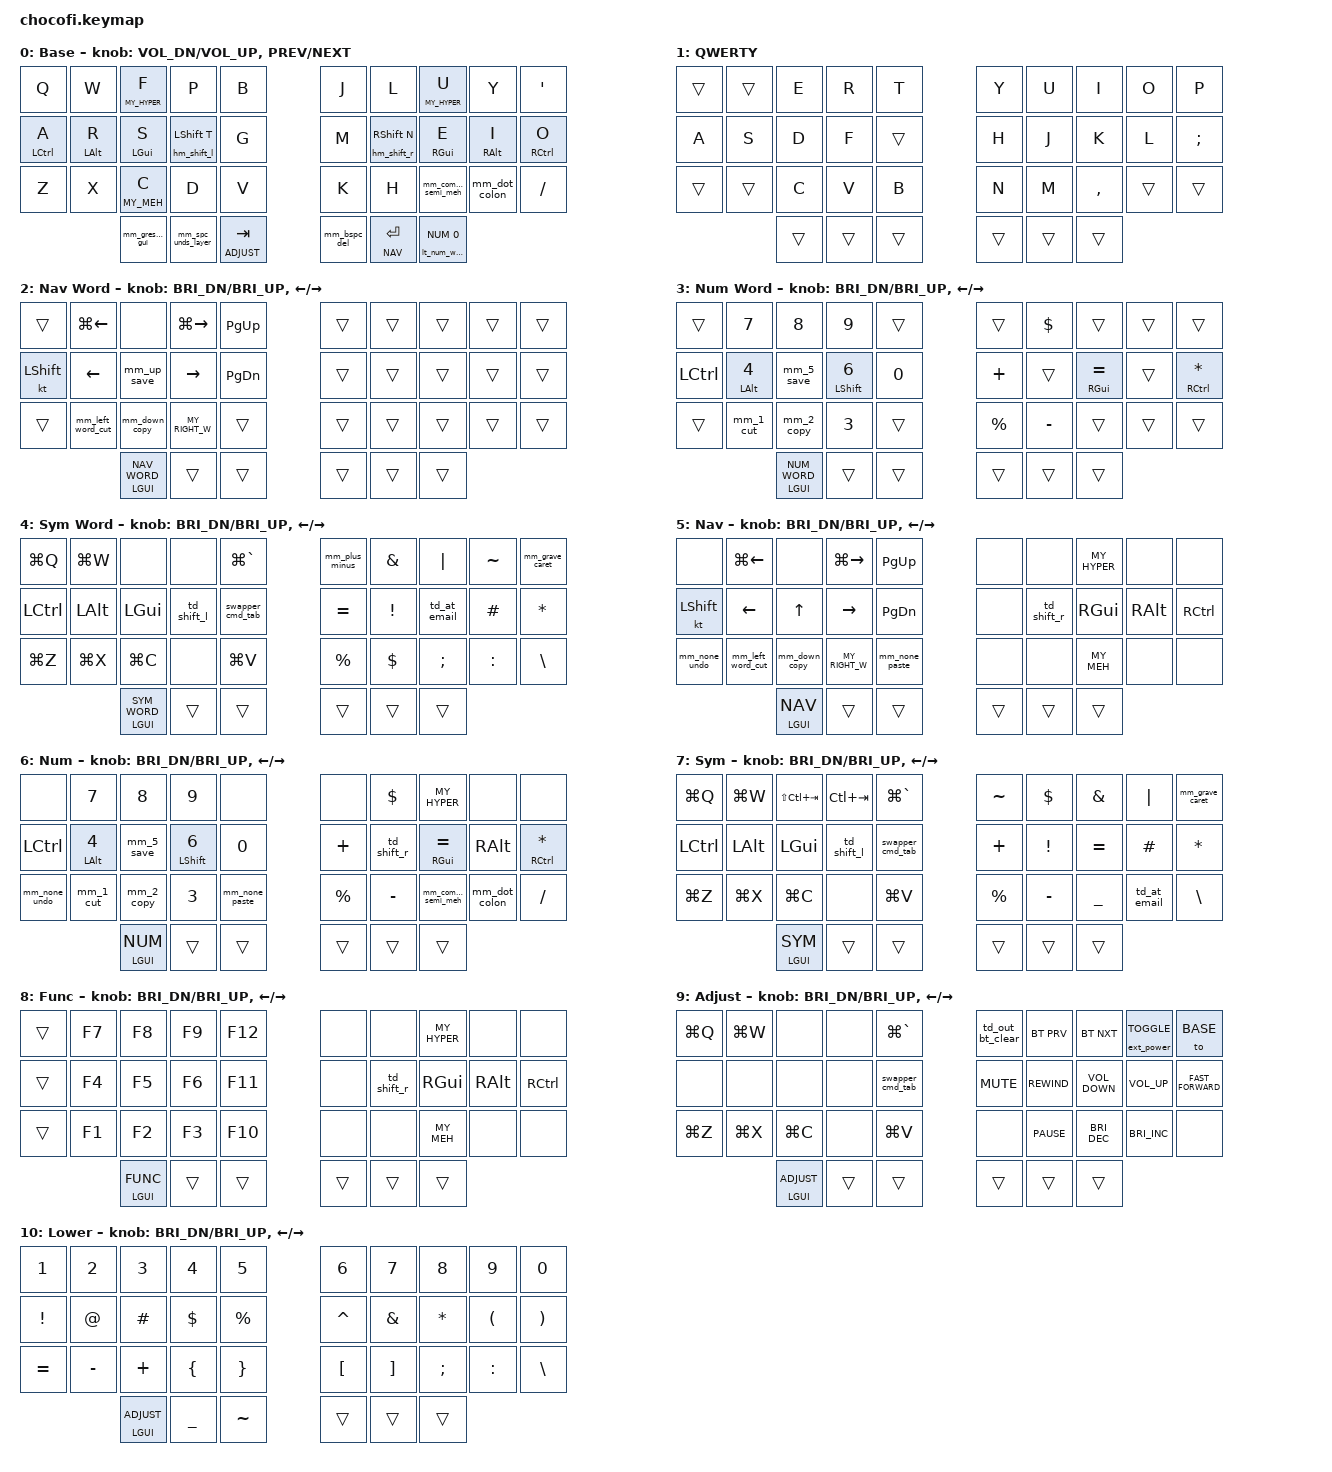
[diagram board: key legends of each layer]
/*
 * Copyright (c) 2020 The ZMK Contributors
 *
 * SPDX-License-Identifier: MIT
 */

// Define layer numbers
#define BASE 0
#define BASE_QWERTY 1
#define NAV_WORD 2
#define NUM_WORD 3
#define SYM_WORD 4
#define NAV 5
#define NUM 6
#define SYM 7
#define FUNC 8
#define ADJUST 9
#define LOWER 10

// ZMK includes
#include <behaviors.dtsi>
#include <dt-bindings/zmk/keys.h>
#include <dt-bindings/zmk/bt.h>
#include <dt-bindings/zmk/rgb.h>
#include <dt-bindings/zmk/ext_power.h>

// Personal includes
#include "includes/custom_keycodes.dtsi"
#include "includes/settings.dtsi"
//#include "includes/settings_pd.dtsi"
#include "includes/conditional_layers.dtsi"
#include "includes/macros.dtsi"
#include "includes/combos.dtsi"
#include "includes/behaviours_homerow_mods.dtsi"
#include "includes/behaviours_mod_morph.dtsi"
#include "includes/behaviours_other.dtsi"


/ {

  keymap {
    compatible = "zmk,keymap";

    Base_layer {
      label = "Base";
      bindings = <
// ╭────────────────────────┬────────────────────────┬────────────────────────┬────────────────────────┬────────────────────────╮    ╭────────────────────────┬────────────────────────┬────────────────────────┬───────────────────────┬────────────────────────╮
     &kp Q                    &kp W                    &hm_l MY_HYPER F         &kp P                    &kp B                         &kp J                    &kp L                    &hm_r MY_HYPER U         &kp Y                    &kp SINGLE_QUOTE
// ├────────────────────────┼────────────────────────┼────────────────────────┼────────────────────────┼────────────────────────┤    ├────────────────────────┼────────────────────────┼────────────────────────┼───────────────────────┼────────────────────────┤
     &hm_l LCTRL A            &hm_l LALT R             &hm_l LGUI S             &hm_shift_l LSHFT T      &kp G                         &kp M                    &hm_shift_r RSHFT N      &hm_r RGUI E             &hm_r RALT I             &hm_r RCTRL O
// ├────────────────────────┼────────────────────────┼────────────────────────┼────────────────────────┼────────────────────────┤    ├────────────────────────┼────────────────────────┼────────────────────────┼───────────────────────┼────────────────────────┤
     &kp Z                    &kp X                    &hm_l MY_MEH C           &kp D                    &kp V                         &kp K                    &kp H                    &mm_comma_semi_meh       &mm_dot_colon            &kp SLASH
// ╰────────────────────────┴────────────────────────┴────────────────────────┼────────────────────────┼────────────────────────┤    ├────────────────────────┼────────────────────────┼────────────────────────┼───────────────────────┼────────────────────────╯
                                                       &mm_grescm_gui           &mm_spc_unds_layer       &lt ADJUST TAB                &mm_bspc_del             &lt NAV RETURN           &lt_num_word NUM 0
//                                                   ╰────────────────────────┴────────────────────────┴────────────────────────╯    ╰────────────────────────┴────────────────────────┴────────────────────────╯

      >;
      sensor-bindings = <&inc_dec_kp C_VOL_DN C_VOL_UP &inc_dec_kp C_PREV C_NEXT>;
    };

    Base_Qwerty_layer {
      label = "QWERTY";
      bindings = <
// ╭────────────────────────┬────────────────────────┬────────────────────────┬────────────────────────┬────────────────────────╮    ╭────────────────────────┬────────────────────────┬────────────────────────┬────────────────────────┬────────────────────────╮
     &trans                   &trans                   &kp E                    &kp R                    &kp T                         &kp Y                    &kp U                    &kp I                    &kp O                    &kp P
// ├────────────────────────┼────────────────────────┼────────────────────────┼────────────────────────┼────────────────────────┤    ├────────────────────────┼────────────────────────┼────────────────────────┼────────────────────────┼────────────────────────┤
     &kp A                    &kp S                    &kp D                    &kp F                    &trans                        &kp H                    &kp J                    &kp K                    &kp L                    &kp SEMICOLON
// ├────────────────────────┼────────────────────────┼────────────────────────┼────────────────────────┼────────────────────────┤    ├────────────────────────┼────────────────────────┼────────────────────────┼────────────────────────┼────────────────────────┤
     &trans                   &trans                   &kp C                    &kp V                    &kp B                         &kp N                    &kp M                    &kp COMMA                &trans                   &trans
// ╰────────────────────────┴────────────────────────┴────────────────────────┼────────────────────────┼────────────────────────┤    ├────────────────────────┼────────────────────────┼────────────────────────┼────────────────────────┴────────────────────────╯
                                                       &trans                   &trans                   &trans                        &trans                   &trans                   &trans
//                                                   ╰────────────────────────┴────────────────────────┴────────────────────────╯    ╰────────────────────────┴────────────────────────┴────────────────────────╯
      >;
    };

    Nav_Word_layer {
      label = "Nav Word";
      bindings = <
// ╭────────────────────────┬────────────────────────┬────────────────────────┬────────────────────────┬────────────────────────╮    ╭────────────────────────┬────────────────────────┬────────────────────────┬────────────────────────┬────────────────────────╮
     &trans                   &kp LG(LEFT)             &none                    &kp LG(RIGHT)            &kp PG_UP                     &trans                   &trans                   &trans                   &trans                   &trans
// ├────────────────────────┼────────────────────────┼────────────────────────┼────────────────────────┼────────────────────────┤    ├────────────────────────┼────────────────────────┼────────────────────────┼────────────────────────┼────────────────────────┤
     &kt LSHFT                &kp LEFT                 &mm_up_save              &kp RIGHT                &kp PG_DN                     &trans                   &trans                   &trans                   &trans                   &trans
// ├────────────────────────┼────────────────────────┼────────────────────────┼────────────────────────┼────────────────────────┤    ├────────────────────────┼────────────────────────┼────────────────────────┼────────────────────────┼────────────────────────┤
     &trans                   &mm_left_word_cut        &mm_down_copy            &kp MY_RIGHT_W           &trans                        &trans                   &trans                   &trans                   &trans                   &trans
// ╰────────────────────────┴────────────────────────┴────────────────────────┼────────────────────────┼────────────────────────┤    ├────────────────────────┼────────────────────────┼────────────────────────┼────────────────────────┴────────────────────────╯
                                                       &ltog LGUI NAV_WORD      &trans                   &trans                        &trans                   &trans                   &trans
//                                                   ╰────────────────────────┴────────────────────────┴────────────────────────╯    ╰────────────────────────┴────────────────────────┴────────────────────────╯
      >;
      sensor-bindings = <&inc_dec_kp C_BRI_DN C_BRI_UP &inc_dec_kp LEFT RIGHT>;
    };

    Num_Word_layer {
      label = "Num Word";
      bindings = <
// ╭────────────────────────┬────────────────────────┬────────────────────────┬────────────────────────┬────────────────────────╮    ╭────────────────────────┬────────────────────────┬────────────────────────┬────────────────────────┬────────────────────────╮
     &trans                   &kp NUMBER_7             &kp NUMBER_8             &kp NUMBER_9             &trans                        &trans                   &kp DOLLAR               &trans                   &trans                   &trans
// ├────────────────────────┼────────────────────────┼────────────────────────┼────────────────────────┼────────────────────────┤    ├────────────────────────┼────────────────────────┼────────────────────────┼────────────────────────┼────────────────────────┤
     &kp LCTRL                &hm_l LALT NUMBER_4      &mm_5_save               &hm_l LSHFT NUMBER_6     &kp NUMBER_0                  &kp PLUS                 &trans                   &hm_r RGUI EQUAL         &trans                   &hm_r RCTRL ASTERISK
// ├────────────────────────┼────────────────────────┼────────────────────────┼────────────────────────┼────────────────────────┤    ├────────────────────────┼────────────────────────┼────────────────────────┼────────────────────────┼────────────────────────┤
     &trans                   &mm_1_cut                &mm_2_copy               &kp NUMBER_3             &trans                        &kp PERCENT              &kp MINUS                &trans                   &trans                   &trans
// ╰────────────────────────┴────────────────────────┴────────────────────────┼────────────────────────┼────────────────────────┤    ├────────────────────────┼────────────────────────┼────────────────────────┼────────────────────────┴────────────────────────╯
                                                       &ltog LGUI NUM_WORD      &trans                   &trans                        &trans                   &trans                   &trans
//                                                   ╰────────────────────────┴────────────────────────┴────────────────────────╯    ╰────────────────────────┴────────────────────────┴────────────────────────╯
      >;
      sensor-bindings = <&inc_dec_kp C_BRI_DN C_BRI_UP &inc_dec_kp LEFT RIGHT>;
    };

    Sym_Word_layer {
      label = "Sym Word";
      bindings = <
// ╭────────────────────────┬────────────────────────┬────────────────────────┬────────────────────────┬────────────────────────╮    ╭────────────────────────┬────────────────────────┬────────────────────────┬────────────────────────┬────────────────────────╮
     &kp LG(Q)                &kp LG(W)                &none                    &none                    &kp LG(GRAVE)                 &mm_plus_minus           &kp AMPERSAND            &kp PIPE                 &kp TILDE                &mm_grave_caret
// ├────────────────────────┼────────────────────────┼────────────────────────┼────────────────────────┼────────────────────────┤    ├────────────────────────┼────────────────────────┼────────────────────────┼────────────────────────┼────────────────────────┤
     &kp LEFT_CONTROL         &kp LEFT_ALT             &kp LEFT_GUI             &td_shift_l              &swapper_cmd_tab              &kp EQUAL                &kp EXCLAMATION          &td_at_email             &kp HASH                 &kp ASTERISK
// ├────────────────────────┼────────────────────────┼────────────────────────┼────────────────────────┼────────────────────────┤    ├────────────────────────┼────────────────────────┼────────────────────────┼────────────────────────┼────────────────────────┤
     &kp LG(Z)                &kp LG(X)                &kp LG(C)                &none                    &kp LG(V)                     &kp PERCENT              &kp DOLLAR               &kp SEMICOLON            &kp COLON                &kp BACKSLASH
// ╰────────────────────────┴────────────────────────┴────────────────────────┼────────────────────────┼────────────────────────┤    ├────────────────────────┼────────────────────────┼────────────────────────┼────────────────────────┴────────────────────────╯
                                                       &ltog LGUI SYM_WORD      &trans                   &trans                        &trans                   &trans                   &trans
//                                                   ╰────────────────────────┴────────────────────────┴────────────────────────╯    ╰────────────────────────┴────────────────────────┴────────────────────────╯
      >;
      sensor-bindings = <&inc_dec_kp C_BRI_DN C_BRI_UP &inc_dec_kp LEFT RIGHT>;
    };

    Nav_layer {
      label = "Nav";
      bindings = <
// ╭────────────────────────┬────────────────────────┬────────────────────────┬────────────────────────┬────────────────────────╮    ╭────────────────────────┬────────────────────────┬────────────────────────┬────────────────────────┬────────────────────────╮
     &none                    &kp LG(LEFT)             &none                    &kp LG(RIGHT)            &kp PG_UP                     &none                    &none                    &kp MY_HYPER             &none                    &none
// ├────────────────────────┼────────────────────────┼────────────────────────┼────────────────────────┼────────────────────────┤    ├────────────────────────┼────────────────────────┼────────────────────────┼────────────────────────┼────────────────────────┤
     &kt LSHFT                &kp LEFT                 &kp UP                   &kp RIGHT                &kp PG_DN                     &none                    &td_shift_r              &kp RIGHT_GUI            &kp RIGHT_ALT            &kp RIGHT_CONTROL
// ├────────────────────────┼────────────────────────┼────────────────────────┼────────────────────────┼────────────────────────┤    ├────────────────────────┼────────────────────────┼────────────────────────┼────────────────────────┼────────────────────────┤
     &mm_none_undo            &mm_left_word_cut        &mm_down_copy            &kp MY_RIGHT_W           &mm_none_paste                &none                    &none                    &kp MY_MEH               &none                    &none
// ╰────────────────────────┴────────────────────────┴────────────────────────┼────────────────────────┼────────────────────────┤    ├────────────────────────┼────────────────────────┼────────────────────────┼────────────────────────┴────────────────────────╯
                                                       &ltog LGUI NAV           &trans                   &trans                        &trans                   &trans                   &trans
//                                                   ╰────────────────────────┴────────────────────────┴────────────────────────╯    ╰────────────────────────┴────────────────────────┴────────────────────────╯
      >;
      sensor-bindings = <&inc_dec_kp C_BRI_DN C_BRI_UP &inc_dec_kp LEFT RIGHT>;
    };

    Num_layer {
      label = "Num";
      bindings = <
// ╭────────────────────────┬────────────────────────┬────────────────────────┬────────────────────────┬────────────────────────╮    ╭────────────────────────┬────────────────────────┬────────────────────────┬────────────────────────┬────────────────────────╮
     &none                    &kp NUMBER_7             &kp NUMBER_8             &kp NUMBER_9             &none                         &none                    &kp DOLLAR               &kp MY_HYPER             &none                    &none
// ├────────────────────────┼────────────────────────┼────────────────────────┼────────────────────────┼────────────────────────┤    ├────────────────────────┼────────────────────────┼────────────────────────┼────────────────────────┼────────────────────────┤
     &kp LCTRL                &hm_l LALT NUMBER_4      &mm_5_save               &hm_l LSHFT NUMBER_6     &kp NUMBER_0                  &kp PLUS                 &td_shift_r              &hm_r RGUI EQUAL         &kp RIGHT_ALT            &hm_r RCTRL ASTERISK
// ├────────────────────────┼────────────────────────┼────────────────────────┼────────────────────────┼────────────────────────┤    ├────────────────────────┼────────────────────────┼────────────────────────┼────────────────────────┼────────────────────────┤
     &mm_none_undo            &mm_1_cut                &mm_2_copy               &kp NUMBER_3             &mm_none_paste                &kp PERCENT              &kp MINUS                &mm_comma_semi_meh       &mm_dot_colon            &kp SLASH
// ╰────────────────────────┴────────────────────────┴────────────────────────┼────────────────────────┼────────────────────────┤    ├────────────────────────┼────────────────────────┼────────────────────────┼────────────────────────┴────────────────────────╯
                                                       &ltog LGUI NUM           &trans                   &trans                        &trans                   &trans                   &trans
//                                                   ╰────────────────────────┴────────────────────────┴────────────────────────╯    ╰────────────────────────┴────────────────────────┴────────────────────────╯
      >;
      sensor-bindings = <&inc_dec_kp C_BRI_DN C_BRI_UP &inc_dec_kp LEFT RIGHT>;
    };

    Sym_layer {
      label = "Sym";
      bindings = <
// ╭────────────────────────┬────────────────────────┬────────────────────────┬────────────────────────┬────────────────────────╮    ╭────────────────────────┬────────────────────────┬────────────────────────┬────────────────────────┬────────────────────────╮
     &kp LG(Q)                &kp LG(W)                &kp LS(LC(TAB))          &kp LC(TAB)              &kp LG(GRAVE)                 &kp TILDE                &kp DOLLAR               &kp AMPERSAND            &kp PIPE                 &mm_grave_caret
// ├────────────────────────┼────────────────────────┼────────────────────────┼────────────────────────┼────────────────────────┤    ├────────────────────────┼────────────────────────┼────────────────────────┼────────────────────────┼────────────────────────┤
     &kp LEFT_CONTROL         &kp LEFT_ALT             &kp LEFT_GUI             &td_shift_l              &swapper_cmd_tab              &kp PLUS                 &kp EXCLAMATION          &kp EQUAL                &kp HASH                 &kp ASTERISK
// ├────────────────────────┼────────────────────────┼────────────────────────┼────────────────────────┼────────────────────────┤    ├────────────────────────┼────────────────────────┼────────────────────────┼────────────────────────┼────────────────────────┤
     &kp LG(Z)                &kp LG(X)                &kp LG(C)                &none &kp                LG(V)                         &kp PERCENT              &kp MINUS                &kp UNDERSCORE           &td_at_email             &kp BACKSLASH
// ╰────────────────────────┴────────────────────────┴────────────────────────┼────────────────────────┼────────────────────────┤    ├────────────────────────┼────────────────────────┼────────────────────────┼────────────────────────┴────────────────────────╯
                                                       &ltog LGUI SYM           &trans                   &trans                        &trans                   &trans                   &trans
//                                                   ╰────────────────────────┴────────────────────────┴────────────────────────╯    ╰────────────────────────┴────────────────────────┴────────────────────────╯
      >;
      sensor-bindings = <&inc_dec_kp C_BRI_DN C_BRI_UP &inc_dec_kp LEFT RIGHT>;
    };

    Func_layer {
      label = "Func";
      bindings = <
// ╭────────────────────────┬────────────────────────┬────────────────────────┬────────────────────────┬────────────────────────╮    ╭────────────────────────┬────────────────────────┬────────────────────────┬────────────────────────┬────────────────────────╮
     &trans                   &kp F7                   &kp F8                   &kp F9                   &kp F12                       &none                    &none                    &kp MY_HYPER             &none                    &none
// ├────────────────────────┼────────────────────────┼────────────────────────┼────────────────────────┼────────────────────────┤    ├────────────────────────┼────────────────────────┼────────────────────────┼────────────────────────┼────────────────────────┤
     &trans                   &kp F4                   &kp F5                   &kp F6                   &kp F11                       &none                    &td_shift_r              &kp RIGHT_GUI            &kp RIGHT_ALT            &kp RIGHT_CONTROL
// ├────────────────────────┼────────────────────────┼────────────────────────┼────────────────────────┼────────────────────────┤    ├────────────────────────┼────────────────────────┼────────────────────────┼────────────────────────┼────────────────────────┤
     &trans                   &kp F1                   &kp F2                   &kp F3                   &kp F10                       &none                    &none                    &kp MY_MEH               &none                    &none
// ╰────────────────────────┴────────────────────────┴────────────────────────┼────────────────────────┼────────────────────────┤    ├────────────────────────┼────────────────────────┼────────────────────────┼────────────────────────┴────────────────────────╯
                                                       &ltog LGUI FUNC          &trans                   &trans                        &trans                   &trans                   &trans
//                                                   ╰────────────────────────┴────────────────────────┴────────────────────────╯    ╰────────────────────────┴────────────────────────┴────────────────────────╯
      >;
      sensor-bindings = <&inc_dec_kp C_BRI_DN C_BRI_UP &inc_dec_kp LEFT RIGHT>;
    };

    Adjust_layer {
      label = "Adjust";
      bindings = <
// ╭────────────────────────┬────────────────────────┬────────────────────────┬────────────────────────┬────────────────────────╮    ╭────────────────────────┬────────────────────────┬────────────────────────┬────────────────────────┬────────────────────────╮
     &kp LG(Q)                &kp LG(W)                &none                    &none                    &kp LG(GRAVE)                 &td_out_bt_clear         &bt BT_PRV               &bt BT_NXT               &ext_power EXT_POWER_TOGGLE_CMD &to BASE
// ├────────────────────────┼────────────────────────┼────────────────────────┼────────────────────────┼────────────────────────┤    ├────────────────────────┼────────────────────────┼────────────────────────┼────────────────────────┼────────────────────────┤
     &none                    &none                    &none                    &none                    &swapper_cmd_tab              &kp C_MUTE               &kp C_REWIND             &kp C_VOLUME_DOWN        &kp C_VOLUME_UP          &kp C_FAST_FORWARD
// ├────────────────────────┼────────────────────────┼────────────────────────┼────────────────────────┼────────────────────────┤    ├────────────────────────┼────────────────────────┼────────────────────────┼────────────────────────┼────────────────────────┤
     &kp LG(Z)                &kp LG(X)                &kp LG(C)                &none                    &kp LG(V)                     &none                    &kp C_PAUSE              &kp C_BRIGHTNESS_DEC     &kp C_BRIGHTNESS_INC     &none
// ╰────────────────────────┴────────────────────────┴────────────────────────┼────────────────────────┼────────────────────────┤    ├────────────────────────┼────────────────────────┼────────────────────────┼────────────────────────┴────────────────────────╯
                                                       &ltog LGUI ADJUST        &trans                   &trans                        &trans                   &trans                   &trans
//                                                   ╰────────────────────────┴────────────────────────┴────────────────────────╯    ╰────────────────────────┴────────────────────────┴────────────────────────╯
      >;
      sensor-bindings = <&inc_dec_kp C_BRI_DN C_BRI_UP &inc_dec_kp LEFT RIGHT>;
    };

    Lower_layer {
      label = "Lower";
      bindings = <
// ╭────────────────────────┬────────────────────────┬────────────────────────┬────────────────────────┬────────────────────────╮    ╭────────────────────────┬────────────────────────┬────────────────────────┬────────────────────────┬────────────────────────╮
     &kp NUMBER_1             &kp NUMBER_2             &kp NUMBER_3             &kp NUMBER_4             &kp NUMBER_5                  &kp NUMBER_6             &kp NUMBER_7             &kp NUMBER_8             &kp NUMBER_9             &kp NUMBER_0
// ├────────────────────────┼────────────────────────┼────────────────────────┼────────────────────────┼────────────────────────┤    ├────────────────────────┼────────────────────────┼────────────────────────┼────────────────────────┼────────────────────────┤
     &kp EXCLAMATION          &kp AT_SIGN              &kp HASH                 &kp DOLLAR               &kp PERCENT                   &kp CARET                &kp AMPERSAND            &kp ASTERISK             &kp LEFT_PARENTHESIS     &kp RIGHT_PARENTHESIS
// ├────────────────────────┼────────────────────────┼────────────────────────┼────────────────────────┼────────────────────────┤    ├────────────────────────┼────────────────────────┼────────────────────────┼────────────────────────┼────────────────────────┤
     &kp EQUAL                &kp MINUS                &kp PLUS                 &kp LEFT_BRACE           &kp RIGHT_BRACE               &kp LEFT_BRACKET         &kp RIGHT_BRACKET        &kp SEMICOLON            &kp COLON                &kp BACKSLASH
// ╰────────────────────────┴────────────────────────┴────────────────────────┼────────────────────────┼────────────────────────┤    ├────────────────────────┼────────────────────────┼────────────────────────┼────────────────────────┴────────────────────────╯
                                                       &ltog LGUI ADJUST        &kp UNDERSCORE           &kp TILDE                     &trans                    &trans                  &trans
//                                                   ╰────────────────────────┴────────────────────────┴────────────────────────╯    ╰────────────────────────┴────────────────────────┴────────────────────────╯
      >;
      sensor-bindings = <&inc_dec_kp C_BRI_DN C_BRI_UP &inc_dec_kp LEFT RIGHT>;
    };
  };

};
